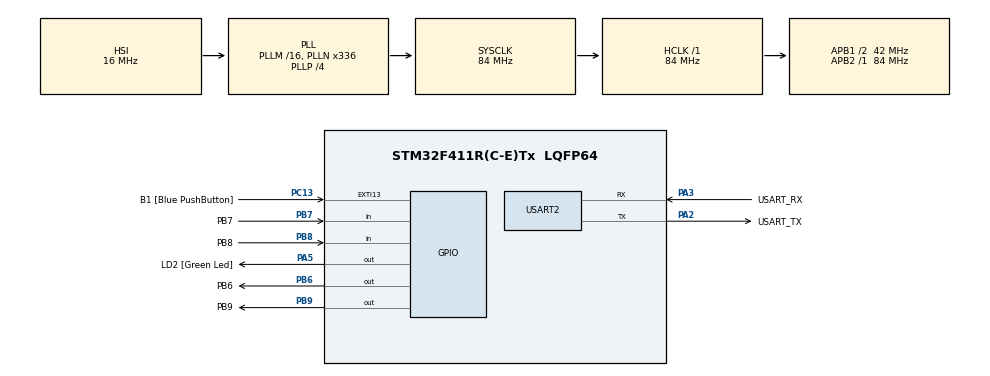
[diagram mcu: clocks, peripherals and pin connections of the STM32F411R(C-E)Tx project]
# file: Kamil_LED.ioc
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Mcu.Family=STM32F4
Mcu.Name=STM32F411R(C-E)Tx
Mcu.Package=LQFP64
NVIC.PriorityGroup=NVIC_PRIORITYGROUP_0
PA13.GPIO_Label=TMS
PA13.Mode=Serial_Wire
PA13.Signal=SYS_JTMS-SWDIO
PA14.GPIO_Label=TCK
PA14.Mode=Serial_Wire
PA14.Signal=SYS_JTCK-SWCLK
PA2.GPIO_Label=USART_TX
PA2.Mode=Asynchronous
PA2.Signal=USART2_TX
PA3.GPIO_Label=USART_RX
PA3.Mode=Asynchronous
PA3.Signal=USART2_RX
PA5.GPIO_Label=LD2 [Green Led]
PA5.Signal=GPIO_Output
PB3.GPIO_Label=SWO
PB3.Signal=SYS_JTDO-SWO
PB6.GPIO_Label=PB6
PB6.Signal=GPIO_Output
PB7.GPIO_Label=PB7
PB7.Signal=GPIO_Input
PB8.GPIO_Label=PB8
PB8.Signal=GPIO_Input
PB9.GPIO_Label=PB9
PB9.Signal=GPIO_Output
PC13-ANTI_TAMP.GPIO_Label=B1 [Blue PushButton]
PC13-ANTI_TAMP.GPIO_ModeDefaultEXTI=GPIO_MODE_IT_FALLING
PC13-ANTI_TAMP.Signal=GPXTI13
PC14-OSC32_IN.Mode=LSE-External-Oscillator
PC14-OSC32_IN.Signal=RCC_OSC32_IN
PC15-OSC32_OUT.Mode=LSE-External-Oscillator
PC15-OSC32_OUT.Signal=RCC_OSC32_OUT
PH0\ -\ OSC_IN.Mode=HSE-External-Clock-Source
PH0\ -\ OSC_IN.Signal=RCC_OSC_IN
PH1\ -\ OSC_OUT.Mode=HSE-External-Clock-Source
PH1\ -\ OSC_OUT.Signal=RCC_OSC_OUT
ProjectManager.HeapSize=0x200
ProjectManager.StackSize=0x400
ProjectManager.TargetToolchain=STM32CubeIDE
RCC.48MHZClocksFreq_Value=84000000
RCC.AHBFreq_Value=84000000
RCC.APB1CLKDivider=RCC_HCLK_DIV2
RCC.APB1Freq_Value=42000000
RCC.APB1TimFreq_Value=84000000
RCC.APB2Freq_Value=84000000
RCC.APB2TimFreq_Value=84000000
RCC.CortexFreq_Value=84000000
RCC.FLatency-AdvancedSettings=FLASH_LATENCY_2
RCC.HCLKFreq_Value=84000000
RCC.HSE_VALUE=8000000
RCC.HSI_VALUE=16000000
RCC.PLLN=336
RCC.PLLP=RCC_PLLP_DIV4
RCC.SYSCLKFreq_VALUE=84000000
RCC.SYSCLKSource=RCC_SYSCLKSOURCE_PLLCLK
RCC.VCOOutputFreq_Value=336000000
USART2.VirtualMode=VM_ASYNC
board=NUCLEO-F411RE

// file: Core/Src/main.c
/* USER CODE BEGIN Header */
/**
  ******************************************************************************
  * @file           : main.c
  * @brief          : Main program body
  ******************************************************************************
  * @attention
  *
  * Copyright (c) 2023 STMicroelectronics.
  * All rights reserved.
  *
  * This software is licensed under terms that can be found in the LICENSE file
  * in the root directory of this software component.
  * If no LICENSE file comes with this software, it is provided AS-IS.
  *
  ******************************************************************************
  */
/* USER CODE END Header */
#include "main.h"

UART_HandleTypeDef huart2;

void SystemClock_Config(void);
static void MX_GPIO_Init(void);
static void MX_USART2_UART_Init(void);

/* USER CODE BEGIN 0 */

// Funkcja umożliwiająca dynamiczną zmianę konfiguracji poszczególnych pinów miktrokontrolera
void PINdir(GPIO_TypeDef* GPIOx, uint16_t GPIO_Pin, uint8_t dir)
{
	GPIO_InitTypeDef GPIO_InitStruct = {0};
	switch(dir){
	// Rekonfiguracaja pinu jako wejście
	case 0:
		// Tworzenie struktury pinu
		GPIO_InitStruct.Pin = GPIO_Pin;
		GPIO_InitStruct.Mode = GPIO_MODE_INPUT;
		GPIO_InitStruct.Pull = GPIO_NOPULL;
		HAL_GPIO_Init(GPIOx, &GPIO_InitStruct); // Przypisanie struktury do danego pinu
		break;
	// Rekonfiguracaja pinu jako wyjście
	case 1:
		GPIO_InitStruct.Pin = GPIO_Pin;
		GPIO_InitStruct.Mode = GPIO_MODE_OUTPUT_PP;
		GPIO_InitStruct.Pull = GPIO_NOPULL;
		GPIO_InitStruct.Speed = GPIO_SPEED_FREQ_LOW;
		HAL_GPIO_Init(GPIOx, &GPIO_InitStruct);
		break;
	// Rekonfiguracaja pinu jako wejście
	default:
		GPIO_InitStruct.Pin = GPIO_Pin;
		GPIO_InitStruct.Mode = GPIO_MODE_INPUT;
		GPIO_InitStruct.Pull = GPIO_NOPULL;
		HAL_GPIO_Init(GPIOx, &GPIO_InitStruct);
		break;
	}

}

// funkcja umożliwiająca zaświecenie poszcególną diodą w 4 wariantach kolorystycznych
// Parametry:
// 		- LED - Przyjmuje wartości od 1 do 4. Określa na kórej diodzie RGB chcemy dokonać zmiany
//		- color - Określa na jaki kolor chcemy zaświecic diodę wybraną przez poprzedni parametr
//				gdzie:
//					1 - czerowny
//					2 - zielony
//					3 - niebieski
//					inny - biały
void LED(uint8_t LED, uint8_t color){
	if(LED == 1){
		if(color == 1){
			PINdir(PB6_GPIO_Port, PB6_Pin, 1);
			PINdir(PB7_GPIO_Port, PB7_Pin, 0);
			PINdir(PB8_GPIO_Port, PB8_Pin, 0);
			PINdir(PB9_GPIO_Port, PB9_Pin, 1);
			HAL_GPIO_WritePin(PB9_GPIO_Port, PB9_Pin, GPIO_PIN_SET);
			HAL_GPIO_WritePin(PB6_GPIO_Port, PB6_Pin, GPIO_PIN_RESET);
		}
		else if(color == 2){
			PINdir(PB6_GPIO_Port, PB6_Pin, 0);
			PINdir(PB7_GPIO_Port, PB7_Pin, 1);
			PINdir(PB8_GPIO_Port, PB8_Pin, 0);
			PINdir(PB9_GPIO_Port, PB9_Pin, 1);
			HAL_GPIO_WritePin(PB9_GPIO_Port, PB9_Pin, GPIO_PIN_SET);
			HAL_GPIO_WritePin(PB7_GPIO_Port, PB7_Pin, GPIO_PIN_RESET);
		}
		else if(color == 3){
			PINdir(PB6_GPIO_Port, PB6_Pin, 0);
			PINdir(PB7_GPIO_Port, PB7_Pin, 0);
			PINdir(PB8_GPIO_Port, PB8_Pin, 1);
			PINdir(PB9_GPIO_Port, PB9_Pin, 1);
			HAL_GPIO_WritePin(PB9_GPIO_Port, PB9_Pin, GPIO_PIN_SET);
			HAL_GPIO_WritePin(PB8_GPIO_Port, PB8_Pin, GPIO_PIN_RESET);
		}
		else{
			PINdir(PB6_GPIO_Port, PB6_Pin, 1);
			PINdir(PB7_GPIO_Port, PB7_Pin, 1);
			PINdir(PB8_GPIO_Port, PB8_Pin, 1);
			PINdir(PB9_GPIO_Port, PB9_Pin, 1);
			HAL_GPIO_WritePin(PB9_GPIO_Port, PB9_Pin, GPIO_PIN_SET);
			HAL_GPIO_WritePin(PB8_GPIO_Port, PB8_Pin, GPIO_PIN_RESET);
			HAL_GPIO_WritePin(PB7_GPIO_Port, PB7_Pin, GPIO_PIN_RESET);
			HAL_GPIO_WritePin(PB6_GPIO_Port, PB6_Pin, GPIO_PIN_RESET);
		}
	}
	if(LED == 2){
		if(color == 1){
			PINdir(PB6_GPIO_Port, PB6_Pin, 0);
			PINdir(PB7_GPIO_Port, PB7_Pin, 0);
			PINdir(PB8_GPIO_Port, PB8_Pin, 1);
			PINdir(PB9_GPIO_Port, PB9_Pin, 1);
			HAL_GPIO_WritePin(PB8_GPIO_Port, PB8_Pin, GPIO_PIN_SET);
			HAL_GPIO_WritePin(PB9_GPIO_Port, PB9_Pin, GPIO_PIN_RESET);
		}
		else if(color == 2){
			PINdir(PB6_GPIO_Port, PB6_Pin, 1);
			PINdir(PB7_GPIO_Port, PB7_Pin, 0);
			PINdir(PB8_GPIO_Port, PB8_Pin, 1);
			PINdir(PB9_GPIO_Port, PB9_Pin, 0);
			HAL_GPIO_WritePin(PB8_GPIO_Port, PB8_Pin, GPIO_PIN_SET);
			HAL_GPIO_WritePin(PB6_GPIO_Port, PB6_Pin, GPIO_PIN_RESET);
		}
		else if(color == 3){
			PINdir(PB6_GPIO_Port, PB6_Pin, 0);
			PINdir(PB7_GPIO_Port, PB7_Pin, 1);
			PINdir(PB8_GPIO_Port, PB8_Pin, 1);
			PINdir(PB9_GPIO_Port, PB9_Pin, 0);
			HAL_GPIO_WritePin(PB8_GPIO_Port, PB8_Pin, GPIO_PIN_SET);
			HAL_GPIO_WritePin(PB7_GPIO_Port, PB7_Pin, GPIO_PIN_RESET);
		}
		else{
			PINdir(PB6_GPIO_Port, PB6_Pin, 1);
			PINdir(PB7_GPIO_Port, PB7_Pin, 1);
			PINdir(PB8_GPIO_Port, PB8_Pin, 1);
			PINdir(PB9_GPIO_Port, PB9_Pin, 1);
			HAL_GPIO_WritePin(PB8_GPIO_Port, PB8_Pin, GPIO_PIN_SET);
			HAL_GPIO_WritePin(PB7_GPIO_Port, PB7_Pin, GPIO_PIN_RESET);
			HAL_GPIO_WritePin(PB6_GPIO_Port, PB6_Pin, GPIO_PIN_RESET);
			HAL_GPIO_WritePin(PB9_GPIO_Port, PB9_Pin, GPIO_PIN_RESET);
		}
	}
	if(LED == 3){
		if(color == 1){
			PINdir(PB6_GPIO_Port, PB6_Pin, 0);
			PINdir(PB7_GPIO_Port, PB7_Pin, 1);
			PINdir(PB8_GPIO_Port, PB8_Pin, 1);
			PINdir(PB9_GPIO_Port, PB9_Pin, 0);
			HAL_GPIO_WritePin(PB7_GPIO_Port, PB7_Pin, GPIO_PIN_SET);
			HAL_GPIO_WritePin(PB8_GPIO_Port, PB8_Pin, GPIO_PIN_RESET);
		}
		else if(color == 2){
			PINdir(PB6_GPIO_Port, PB6_Pin, 0);
			PINdir(PB7_GPIO_Port, PB7_Pin, 1);
			PINdir(PB8_GPIO_Port, PB8_Pin, 0);
			PINdir(PB9_GPIO_Port, PB9_Pin, 1);
			HAL_GPIO_WritePin(PB7_GPIO_Port, PB7_Pin, GPIO_PIN_SET);
			HAL_GPIO_WritePin(PB9_GPIO_Port, PB9_Pin, GPIO_PIN_RESET);
		}
		else if(color == 3){
			PINdir(PB6_GPIO_Port, PB6_Pin, 1);
			PINdir(PB7_GPIO_Port, PB7_Pin, 1);
			PINdir(PB8_GPIO_Port, PB8_Pin, 0);
			PINdir(PB9_GPIO_Port, PB9_Pin, 0);
			HAL_GPIO_WritePin(PB7_GPIO_Port, PB7_Pin, GPIO_PIN_SET);
			HAL_GPIO_WritePin(PB6_GPIO_Port, PB6_Pin, GPIO_PIN_RESET);
		}
		else{
			PINdir(PB6_GPIO_Port, PB6_Pin, 1);
			PINdir(PB7_GPIO_Port, PB7_Pin, 1);
			PINdir(PB8_GPIO_Port, PB8_Pin, 1);
			PINdir(PB9_GPIO_Port, PB9_Pin, 1);
			HAL_GPIO_WritePin(PB7_GPIO_Port, PB7_Pin, GPIO_PIN_SET);
			HAL_GPIO_WritePin(PB6_GPIO_Port, PB6_Pin, GPIO_PIN_RESET);
			HAL_GPIO_WritePin(PB8_GPIO_Port, PB8_Pin, GPIO_PIN_RESET);
			HAL_GPIO_WritePin(PB9_GPIO_Port, PB9_Pin, GPIO_PIN_RESET);
		}
	}
	if(LED == 4){
		if(color == 1){
			PINdir(PB6_GPIO_Port, PB6_Pin, 1);
			PINdir(PB7_GPIO_Port, PB7_Pin, 1);
			PINdir(PB8_GPIO_Port, PB8_Pin, 0);
			PINdir(PB9_GPIO_Port, PB9_Pin, 0);
			HAL_GPIO_WritePin(PB6_GPIO_Port, PB6_Pin, GPIO_PIN_SET);
			HAL_GPIO_WritePin(PB7_GPIO_Port, PB7_Pin, GPIO_PIN_RESET);
		}
		else if(color == 2){
			PINdir(PB6_GPIO_Port, PB6_Pin, 1);
			PINdir(PB7_GPIO_Port, PB7_Pin, 0);
			PINdir(PB8_GPIO_Port, PB8_Pin, 1);
			PINdir(PB9_GPIO_Port, PB9_Pin, 0);
			HAL_GPIO_WritePin(PB6_GPIO_Port, PB6_Pin, GPIO_PIN_SET);
			HAL_GPIO_WritePin(PB8_GPIO_Port, PB8_Pin, GPIO_PIN_RESET);
		}
		else if(color == 3){
			PINdir(PB6_GPIO_Port, PB6_Pin, 1);
			PINdir(PB7_GPIO_Port, PB7_Pin, 0);
			PINdir(PB8_GPIO_Port, PB8_Pin, 0);
			PINdir(PB9_GPIO_Port, PB9_Pin, 1);
			HAL_GPIO_WritePin(PB6_GPIO_Port, PB6_Pin, GPIO_PIN_SET);
			HAL_GPIO_WritePin(PB9_GPIO_Port, PB9_Pin, GPIO_PIN_RESET);
		}
		else{
			PINdir(PB6_GPIO_Port, PB6_Pin, 1);
			PINdir(PB7_GPIO_Port, PB7_Pin, 1);
			PINdir(PB8_GPIO_Port, PB8_Pin, 1);
			PINdir(PB9_GPIO_Port, PB9_Pin, 1);
			HAL_GPIO_WritePin(PB6_GPIO_Port, PB6_Pin, GPIO_PIN_SET);
			HAL_GPIO_WritePin(PB9_GPIO_Port, PB9_Pin, GPIO_PIN_RESET);
			HAL_GPIO_WritePin(PB8_GPIO_Port, PB8_Pin, GPIO_PIN_RESET);
			HAL_GPIO_WritePin(PB7_GPIO_Port, PB7_Pin, GPIO_PIN_RESET);

		}
	}
}

/* USER CODE END 0 */

int main(void)
{

  /* MCU Configuration--------------------------------------------------------*/

  /* Reset of all peripherals, Initializes the Flash interface and the Systick. */
  HAL_Init();

  /* Configure the system clock */
  SystemClock_Config();

  /* Initialize all configured peripherals */
  MX_GPIO_Init();
  MX_USART2_UART_Init();

  /* Infinite loop */
  /* USER CODE BEGIN WHILE */
  while (1)
  {

	LED(1,1);		// wywoływanie funkcji "LED"
	HAL_Delay(500); // wywołanie opóźnienia czasowego
	LED(1,2);
	HAL_Delay(500);
	LED(1,3);
	HAL_Delay(500);
	LED(1,4);
	HAL_Delay(500);

	LED(2,1);
	HAL_Delay(500);
	LED(2,2);
	HAL_Delay(500);
	LED(2,3);
	HAL_Delay(500);
	LED(2,4);
	HAL_Delay(500);

	LED(3,1);
	HAL_Delay(500);
	LED(3,2);
	HAL_Delay(500);
	LED(3,3);
	HAL_Delay(500);
	LED(3,4);
	HAL_Delay(500);

	LED(4,1);
	HAL_Delay(500);
	LED(4,2);
	HAL_Delay(500);
	LED(4,3);
	HAL_Delay(500);
	LED(4,4);
	HAL_Delay(500);

    /* USER CODE END WHILE */

  }
}

void SystemClock_Config(void)
{
  RCC_OscInitTypeDef RCC_OscInitStruct = {0};
  RCC_ClkInitTypeDef RCC_ClkInitStruct = {0};

  /** Configure the main internal regulator output voltage
  */
  __HAL_RCC_PWR_CLK_ENABLE();
  __HAL_PWR_VOLTAGESCALING_CONFIG(PWR_REGULATOR_VOLTAGE_SCALE1);

  /** Initializes the RCC Oscillators according to the specified parameters
  * in the RCC_OscInitTypeDef structure.
  */
  RCC_OscInitStruct.OscillatorType = RCC_OSCILLATORTYPE_HSI;
  RCC_OscInitStruct.HSIState = RCC_HSI_ON;
  RCC_OscInitStruct.HSICalibrationValue = RCC_HSICALIBRATION_DEFAULT;
  RCC_OscInitStruct.PLL.PLLState = RCC_PLL_ON;
  RCC_OscInitStruct.PLL.PLLSource = RCC_PLLSOURCE_HSI;
  RCC_OscInitStruct.PLL.PLLM = 16;
  RCC_OscInitStruct.PLL.PLLN = 336;
  RCC_OscInitStruct.PLL.PLLP = RCC_PLLP_DIV4;
  RCC_OscInitStruct.PLL.PLLQ = 4;
  if (HAL_RCC_OscConfig(&RCC_OscInitStruct) != HAL_OK)
  {
    Error_Handler();
  }

  /** Initializes the CPU, AHB and APB buses clocks
  */
  RCC_ClkInitStruct.ClockType = RCC_CLOCKTYPE_HCLK|RCC_CLOCKTYPE_SYSCLK
                              |RCC_CLOCKTYPE_PCLK1|RCC_CLOCKTYPE_PCLK2;
  RCC_ClkInitStruct.SYSCLKSource = RCC_SYSCLKSOURCE_PLLCLK;
  RCC_ClkInitStruct.AHBCLKDivider = RCC_SYSCLK_DIV1;
  RCC_ClkInitStruct.APB1CLKDivider = RCC_HCLK_DIV2;
  RCC_ClkInitStruct.APB2CLKDivider = RCC_HCLK_DIV1;

  if (HAL_RCC_ClockConfig(&RCC_ClkInitStruct, FLASH_LATENCY_2) != HAL_OK)
  {
    Error_Handler();
  }
}

static void MX_USART2_UART_Init(void)
{

  huart2.Instance = USART2;
  huart2.Init.BaudRate = 115200;
  huart2.Init.WordLength = UART_WORDLENGTH_8B;
  huart2.Init.StopBits = UART_STOPBITS_1;
  huart2.Init.Parity = UART_PARITY_NONE;
  huart2.Init.Mode = UART_MODE_TX_RX;
  huart2.Init.HwFlowCtl = UART_HWCONTROL_NONE;
  huart2.Init.OverSampling = UART_OVERSAMPLING_16;
  if (HAL_UART_Init(&huart2) != HAL_OK)
  {
    Error_Handler();
  }

}

static void MX_GPIO_Init(void)
{
  GPIO_InitTypeDef GPIO_InitStruct = {0};

  /* GPIO Ports Clock Enable */
  __HAL_RCC_GPIOC_CLK_ENABLE();
  __HAL_RCC_GPIOH_CLK_ENABLE();
  __HAL_RCC_GPIOA_CLK_ENABLE();
  __HAL_RCC_GPIOB_CLK_ENABLE();

  /*Configure GPIO pin Output Level */
  HAL_GPIO_WritePin(LD2_GPIO_Port, LD2_Pin, GPIO_PIN_RESET);

  /*Configure GPIO pin Output Level */
  HAL_GPIO_WritePin(GPIOB, PB6_Pin|PB9_Pin, GPIO_PIN_RESET);

  /*Configure GPIO pin : B1_Pin */
  GPIO_InitStruct.Pin = B1_Pin;
  GPIO_InitStruct.Mode = GPIO_MODE_IT_FALLING;
  GPIO_InitStruct.Pull = GPIO_NOPULL;
  HAL_GPIO_Init(B1_GPIO_Port, &GPIO_InitStruct);

  /*Configure GPIO pin : LD2_Pin */
  GPIO_InitStruct.Pin = LD2_Pin;
  GPIO_InitStruct.Mode = GPIO_MODE_OUTPUT_PP;
  GPIO_InitStruct.Pull = GPIO_NOPULL;
  GPIO_InitStruct.Speed = GPIO_SPEED_FREQ_LOW;
  HAL_GPIO_Init(LD2_GPIO_Port, &GPIO_InitStruct);

  /*Configure GPIO pins : PB6_Pin PB9_Pin */
  GPIO_InitStruct.Pin = PB6_Pin|PB9_Pin;
  GPIO_InitStruct.Mode = GPIO_MODE_OUTPUT_PP;
  GPIO_InitStruct.Pull = GPIO_NOPULL;
  GPIO_InitStruct.Speed = GPIO_SPEED_FREQ_LOW;
  HAL_GPIO_Init(GPIOB, &GPIO_InitStruct);

  /*Configure GPIO pins : PB7_Pin PB8_Pin */
  GPIO_InitStruct.Pin = PB7_Pin|PB8_Pin;
  GPIO_InitStruct.Mode = GPIO_MODE_INPUT;
  GPIO_InitStruct.Pull = GPIO_NOPULL;
  HAL_GPIO_Init(GPIOB, &GPIO_InitStruct);

}

void Error_Handler(void)
{
  __disable_irq();
  while (1)
  {
  }
}
